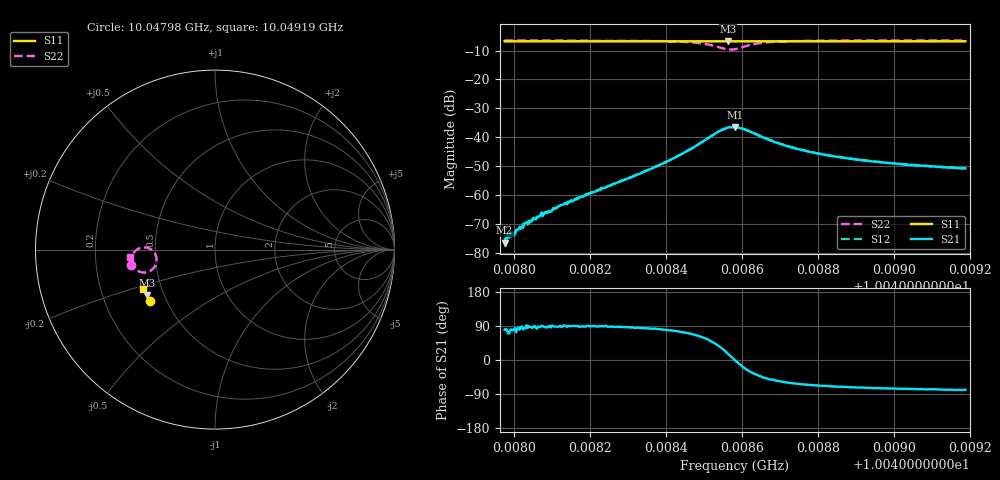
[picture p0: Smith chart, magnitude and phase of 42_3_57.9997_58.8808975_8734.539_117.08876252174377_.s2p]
#  HZ  S  RI  R  50.00
! Rohde & Schwarz Vector Network Analyzer
! Rohde-Schwarz,ZNB20-2Port,1311601062101988,3.16
! Created: UTC 3/21/2024, 12:52:08 AM
! freq[Hz]  re:S11  im:S11  re:S21  im:S21  re:S12  im:S12  re:S22  im:S22
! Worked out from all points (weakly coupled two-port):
!   401 points, 10.04798 GHz to 10.04919 GHz, reference 50 ohm
!   highest |S21| = -36.46 dB at 10.04858 GHz (marker M1); lowest = -76.5 dB at 10.04798 GHz (marker M2)
!   lowest |S11| = -6.8 dB at 10.04856 GHz (marker M3), VSWR 2.68, Z = 20.1 - j12.8 ohm
!   |S11| at or under -10 dB: nowhere
!   |S22| runs from -9.7 to -6.5 dB; largest |S21 - S12| = 0.0013
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1.0047976e10  -0.3598 -0.2859  2.56e-05 0.000147  2.66e-05 0.000179  -0.4661 -0.0875
1.0047985e10  -0.3602 -0.2853  6.89e-05 0.000191  3e-05 0.00018  -0.4661 -0.0867
1.0047988e10  -0.3603 -0.2851  6.08e-05 0.000171  3.2e-05 0.000204  -0.4663 -0.0863
1.0048e10  -0.3608 -0.2846  3.35e-05 0.000193  1.05e-05 0.000224  -0.4666 -0.0853
1.0048012e10  -0.3612 -0.284  1.71e-05 0.00025  -2.23e-05 0.000255  -0.4665 -0.0843
1.004803e10  -0.362 -0.283  3.65e-05 0.000324  -2.04e-05 0.000326  -0.4667 -0.0825
1.0048042e10  -0.3624 -0.2824  1.66e-05 0.000335  1.19e-06 0.000346  -0.467 -0.0813
1.0048067e10  -0.3634 -0.281  2.05e-05 0.000429  1.24e-05 0.000428  -0.4669 -0.079
1.0048179e10  -0.3678 -0.2748  1.8e-05 0.000937  -6.98e-05 0.000945  -0.4672 -0.0669
1.0048382e10  -0.3754 -0.2634  0.000507 0.00324  0.000292 0.00327  -0.4607 -0.0323
1.0048436e10  -0.3773 -0.2603  0.00131 0.00473  0.000998 0.0048  -0.451 -0.0153
1.0048488e10  -0.3791 -0.257  0.00354 0.00683  0.00309 0.00703  -0.4263 0.00506
1.0048533e10  -0.38 -0.2544  0.00902 0.00781  0.00848 0.00829  -0.3723 0.0087
1.0048564e10  -0.3804 -0.253  0.0142 0.00399  0.0137 0.00517  -0.3297 -0.0324
1.0048582e10  -0.3809 -0.2524  0.015 -0.000181  0.0149 0.000869  -0.327 -0.0737
1.0048615e10  -0.3823 -0.2512  0.0116 -0.00584  0.0121 -0.00508  -0.3675 -0.1222
1.0048658e10  -0.3843 -0.249  0.00676 -0.00718  0.00738 -0.00666  -0.4163 -0.1243
1.0048718e10  -0.3868 -0.2456  0.00358 -0.00604  0.00401 -0.00588  -0.4466 -0.1059
1.0048785e10  -0.3892 -0.2417  0.0022 -0.00499  0.00254 -0.00491  -0.4591 -0.0892
1.0048876e10  -0.3923 -0.2364  0.00139 -0.00408  0.00163 -0.00405  -0.4662 -0.073
1.0048988e10  -0.396 -0.2296  0.000894 -0.00342  0.00113 -0.00341  -0.4701 -0.0586
1.0049188e10  -0.4022 -0.2181  0.000552 -0.00283  0.000728 -0.00278  -0.4731 -0.0391
